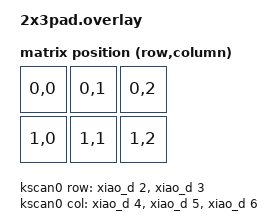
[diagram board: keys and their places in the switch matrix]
/*
 * SPDX-License-Identifier: MIT
 *
 * Device Tree Overlay for a 2x3 keyboard shield.
 */

#include <dt-bindings/zmk/matrix_transform.h>

/ {
    chosen {
        zmk,kscan = &kscan0;
        zmk,matrix_transform = &default_transform;
    };

    default_transform: keymap_transform_0 {
        compatible = "zmk,matrix-transform";
        rows = <2>;
        columns = <3>;
        map = <
            RC(0,0) RC(0,1) RC(0,2)
            RC(1,0) RC(1,1) RC(1,2)
        >;
    };

    kscan0: kscan {
        compatible = "zmk,kscan-gpio-matrix";
        label = "KSCAN";

        /* Set diode direction based on schematic */
        diode-direction = "col2row";  // Adjusted for observed diode direction

       /* GPIO pins for rows (active low) */
        row-gpios = <&xiao_d 2 (GPIO_ACTIVE_HIGH | GPIO_PULL_DOWN)>,
                    <&xiao_d 3 (GPIO_ACTIVE_HIGH | GPIO_PULL_DOWN)>;

        /* GPIO pins for columns (active low) */
        col-gpios = <&xiao_d 4 (GPIO_ACTIVE_HIGH)>,
                    <&xiao_d 5 (GPIO_ACTIVE_HIGH)>,
                    <&xiao_d 6 (GPIO_ACTIVE_HIGH)>;
    };
};
